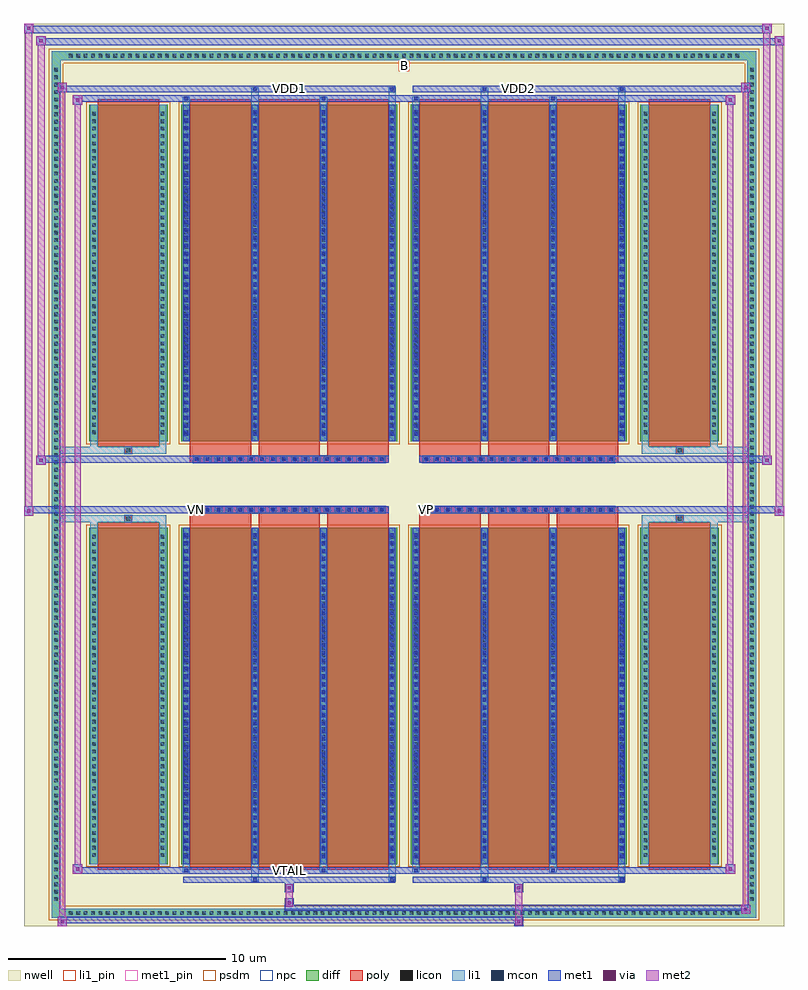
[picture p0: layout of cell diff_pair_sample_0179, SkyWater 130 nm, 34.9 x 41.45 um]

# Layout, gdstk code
import gdstk
lib = gdstk.Library(unit=1e-6, precision=5e-09)
def R(c, l, rs):  # rectangles x0, y0, x1, y1
    for r in rs: c.add(gdstk.rectangle(r[:2], r[2:], *l))
def A(c, l, x, y, w, h, nx, ny, dx, dy):  # array of equal rectangles
    R(c, l, [(x+i*dx, y+j*dy, x+i*dx+w, y+j*dy+h) for i in range(nx) for j in range(ny)])
def P(c, l, *ps):  # polygons
    for p in ps: c.add(gdstk.Polygon(p, *l))
nwell = (64, 20)
diff = (65, 20)
poly = (66, 20)
licon = (66, 44)
li1_pin = (67, 16)
li1 = (67, 20)
mcon = (67, 44)
met1_pin = (68, 16)
met1 = (68, 20)
via = (68, 44)
met2 = (69, 20)
psdm = (94, 20)
npc = (95, 20)

diff_pair_sample_0179 = lib.new_cell('diff_pair_sample_0179')
R(diff_pair_sample_0179, nwell, [(-17.45,-20.29,17.45,21.16), (-14.77,-18.48,-0.01,-0.8), (0.01,-18.48,14.77,-0.8), (-14.77,0.8,-0.01,18.48), (0.01,0.8,14.77,18.48)])
A(diff_pair_sample_0179, diff, -15.505, -19.89, 0.41, 0.41, 91, 2, 0.34, 39.37)
A(diff_pair_sample_0179, diff, -16.18, -19.245, 0.41, 0.41, 1, 113, 0, 0.34)
A(diff_pair_sample_0179, diff, 15.77, -19.245, 0.41, 0.41, 1, 113, 0, 0.34)
R(diff_pair_sample_0179, diff, [(-15.505,-19.89,15.505,-19.48), (-16.18,-19.245,-15.77,19.245), (15.77,-19.245,16.18,19.245), (-14.46,-17.435,-10.86,-1.985), (-10.22,-17.435,-0.32,-1.985), (0.32,-17.435,10.22,-1.985), (10.86,-17.435,14.46,-1.985), (-14.46,1.985,-10.86,17.435), (-10.22,1.985,-0.32,17.435), (0.32,1.985,10.22,17.435), (10.86,1.985,14.46,17.435), (-15.505,19.48,15.505,19.89)])
P(diff_pair_sample_0179, diff, [(16.18,19.89),(-16.18,19.89),(-16.18,-19.48),(-15.77,-19.48),(-15.77,19.48),(15.77,19.48),(15.77,-19.48),(-15.77,-19.48),(-16.18,-19.48),(-16.18,-19.89),(16.18,-19.89)])
A(diff_pair_sample_0179, poly, -9.83, -17.685, 2.82, 15.95, 3, 2, 3.15, 19.42)
A(diff_pair_sample_0179, poly, 0.71, -17.685, 2.82, 15.95, 3, 2, 3.15, 19.42)
A(diff_pair_sample_0179, poly, -9.83, -1.735, 2.82, 0.405, 3, 2, 3.15, 3.065)
A(diff_pair_sample_0179, poly, 0.71, -1.735, 2.82, 0.405, 3, 2, 3.15, 3.065)
A(diff_pair_sample_0179, poly, -9.685, -1.33, 0.33, 0.33, 18, 2, 0.5, 2.33)
A(diff_pair_sample_0179, poly, 0.855, -1.33, 0.33, 0.33, 18, 2, 0.5, 2.33)
R(diff_pair_sample_0179, poly, [(-14.07,-17.685,-11.25,-1.735), (11.25,-17.685,14.07,-1.735), (-12.825,-1.735,-12.495,-1.405), (-12.825,-1.735,-12.495,-1.405), (12.495,-1.735,12.825,-1.405), (12.495,-1.735,12.825,-1.405), (-9.83,-1.33,-0.71,-1), (0.71,-1.33,9.83,-1), (-9.83,1,-0.71,1.33), (0.71,1,9.83,1.33), (-12.825,1.405,-12.495,1.735), (-12.825,1.405,-12.495,1.735), (12.495,1.405,12.825,1.735), (12.495,1.405,12.825,1.735), (-14.07,1.735,-11.25,17.685), (11.25,1.735,14.07,17.685)])
A(diff_pair_sample_0179, licon, -15.385, -19.77, 0.17, 0.17, 91, 2, 0.34, 39.37)
A(diff_pair_sample_0179, licon, -16.06, -19.125, 0.17, 0.17, 1, 113, 0, 0.34)
A(diff_pair_sample_0179, licon, 15.89, -19.125, 0.17, 0.17, 1, 113, 0, 0.34)
A(diff_pair_sample_0179, licon, -14.32, -17.105, 0.17, 0.17, 1, 44, 0, 0.34)
A(diff_pair_sample_0179, licon, -11.17, -17.105, 0.17, 0.17, 1, 44, 0, 0.34)
A(diff_pair_sample_0179, licon, -10.08, -17.105, 0.17, 0.17, 4, 44, 3.15, 0.34)
A(diff_pair_sample_0179, licon, 0.46, -17.105, 0.17, 0.17, 4, 44, 3.15, 0.34)
A(diff_pair_sample_0179, licon, 11, -17.105, 0.17, 0.17, 1, 44, 0, 0.34)
A(diff_pair_sample_0179, licon, 14.15, -17.105, 0.17, 0.17, 1, 44, 0, 0.34)
A(diff_pair_sample_0179, licon, -9.605, -1.25, 0.17, 0.17, 18, 2, 0.5, 2.33)
A(diff_pair_sample_0179, licon, 0.935, -1.25, 0.17, 0.17, 18, 2, 0.5, 2.33)
A(diff_pair_sample_0179, licon, -14.32, 2.315, 0.17, 0.17, 1, 44, 0, 0.34)
A(diff_pair_sample_0179, licon, -11.17, 2.315, 0.17, 0.17, 1, 44, 0, 0.34)
A(diff_pair_sample_0179, licon, -10.08, 2.315, 0.17, 0.17, 4, 44, 3.15, 0.34)
A(diff_pair_sample_0179, licon, 0.46, 2.315, 0.17, 0.17, 4, 44, 3.15, 0.34)
A(diff_pair_sample_0179, licon, 11, 2.315, 0.17, 0.17, 1, 44, 0, 0.34)
A(diff_pair_sample_0179, licon, 14.15, 2.315, 0.17, 0.17, 1, 44, 0, 0.34)
R(diff_pair_sample_0179, licon, [(-12.745,-1.655,-12.575,-1.485), (12.575,-1.655,12.745,-1.485), (-12.745,1.485,-12.575,1.655), (12.575,1.485,12.745,1.655)])
R(diff_pair_sample_0179, li1_pin, [(-0.25,18.98,0.25,19.48)])
A(diff_pair_sample_0179, li1, -15.465, -19.85, 0.33, 0.33, 91, 2, 0.34, 39.37)
A(diff_pair_sample_0179, li1, -16.14, -19.205, 0.33, 0.33, 1, 113, 0, 0.34)
A(diff_pair_sample_0179, li1, 15.81, -19.205, 0.33, 0.33, 1, 113, 0, 0.34)
A(diff_pair_sample_0179, li1, -10.16, -17.435, 0.33, 15.45, 4, 2, 3.15, 19.42)
A(diff_pair_sample_0179, li1, 0.38, -17.435, 0.33, 15.45, 4, 2, 3.15, 19.42)
A(diff_pair_sample_0179, li1, -14.4, -17.185, 0.33, 0.33, 1, 44, 0, 0.34)
A(diff_pair_sample_0179, li1, -11.25, -17.185, 0.33, 0.33, 1, 44, 0, 0.34)
A(diff_pair_sample_0179, li1, -10.16, -17.185, 0.33, 0.33, 4, 44, 3.15, 0.34)
A(diff_pair_sample_0179, li1, 0.38, -17.185, 0.33, 0.33, 4, 44, 3.15, 0.34)
A(diff_pair_sample_0179, li1, 10.92, -17.185, 0.33, 0.33, 1, 44, 0, 0.34)
A(diff_pair_sample_0179, li1, 14.07, -17.185, 0.33, 0.33, 1, 44, 0, 0.34)
A(diff_pair_sample_0179, li1, -10.08, -17.175, 0.17, 0.17, 4, 42, 3.15, 0.36)
A(diff_pair_sample_0179, li1, -10.08, -17.175, 0.17, 14.93, 4, 2, 3.15, 19.42)
A(diff_pair_sample_0179, li1, 0.46, -17.175, 0.17, 0.17, 4, 42, 3.15, 0.36)
A(diff_pair_sample_0179, li1, 0.46, -17.175, 0.17, 14.93, 4, 2, 3.15, 19.42)
A(diff_pair_sample_0179, li1, -9.685, -1.33, 0.33, 0.33, 18, 2, 0.5, 2.33)
A(diff_pair_sample_0179, li1, 0.855, -1.33, 0.33, 0.33, 18, 2, 0.5, 2.33)
A(diff_pair_sample_0179, li1, -14.4, 2.235, 0.33, 0.33, 1, 44, 0, 0.34)
A(diff_pair_sample_0179, li1, -11.25, 2.235, 0.33, 0.33, 1, 44, 0, 0.34)
A(diff_pair_sample_0179, li1, -10.16, 2.235, 0.33, 0.33, 4, 44, 3.15, 0.34)
A(diff_pair_sample_0179, li1, 0.38, 2.235, 0.33, 0.33, 4, 44, 3.15, 0.34)
A(diff_pair_sample_0179, li1, 10.92, 2.235, 0.33, 0.33, 1, 44, 0, 0.34)
A(diff_pair_sample_0179, li1, 14.07, 2.235, 0.33, 0.33, 1, 44, 0, 0.34)
A(diff_pair_sample_0179, li1, -10.08, 2.245, 0.17, 0.17, 4, 42, 3.15, 0.36)
A(diff_pair_sample_0179, li1, 0.46, 2.245, 0.17, 0.17, 4, 42, 3.15, 0.36)
R(diff_pair_sample_0179, li1, [(-16.18,-19.89,-15.77,-19.48), (-16.18,-19.89,-15.77,-19.48), (-15.77,-19.89,15.77,-19.48), (15.77,-19.89,16.18,-19.48), (15.77,-19.89,16.18,-19.48), (-16.18,-19.48,-15.77,19.48), (15.77,-19.48,16.18,19.48), (-7.01,-18.24,-6.68,-17.435), (-6.93,-18.24,-6.76,-18.07), (-0.71,-18.24,-0.38,-17.435), (-0.63,-18.24,-0.46,-18.07), (3.53,-18.24,3.86,-17.435), (3.61,-18.24,3.78,-18.07), (9.83,-18.24,10.16,-17.435), (9.91,-18.24,10.08,-18.07), (-10.16,-17.81,-9.83,-17.435), (-10.08,-17.81,-9.91,-17.64), (-3.86,-17.81,-3.53,-17.435), (-3.78,-17.81,-3.61,-17.64), (0.38,-17.81,0.71,-17.435), (0.46,-17.81,0.63,-17.64), (6.68,-17.81,7.01,-17.435), (6.76,-17.81,6.93,-17.64), (-14.4,-17.435,-14.07,-1.985), (-11.25,-17.435,-10.92,-1.985), (10.92,-17.435,11.25,-1.985), (14.07,-17.435,14.4,-1.985), (-14.4,-1.985,-14.07,-1.405), (-11.25,-1.985,-10.92,-1.405), (10.92,-1.985,11.25,-1.405), (14.07,-1.985,14.4,-1.405), (-16.18,-1.735,-12.825,-1.405), (-14.4,-1.735,-12.825,-1.405), (-12.825,-1.735,-12.495,-1.405), (-12.495,-1.735,-10.92,-1.405), (10.92,-1.735,12.495,-1.405), (12.495,-1.735,12.825,-1.405), (12.495,-1.735,16.18,-1.405), (12.825,-1.735,14.4,-1.405), (-16.18,1.405,-12.825,1.735), (-14.4,1.405,-12.825,1.735), (-14.4,1.405,-14.07,1.985), (-12.825,1.405,-12.495,1.735), (-12.495,1.405,-10.92,1.735), (-11.25,1.405,-10.92,1.985), (10.92,1.405,12.495,1.735), (10.92,1.405,11.25,1.985), (12.495,1.405,12.825,1.735), (12.495,1.405,16.18,1.735), (12.825,1.405,14.4,1.735), (14.07,1.405,14.4,1.985), (-14.4,1.985,-14.07,17.435), (-11.25,1.985,-10.92,17.435), (10.92,1.985,11.25,17.435), (14.07,1.985,14.4,17.435), (-10.16,17.435,-9.83,17.81), (-7.01,17.435,-6.68,18.24), (-3.86,17.435,-3.53,17.81), (-0.71,17.435,-0.38,18.24), (0.38,17.435,0.71,17.81), (3.53,17.435,3.86,18.24), (6.68,17.435,7.01,17.81), (9.83,17.435,10.16,18.24), (-10.08,17.64,-9.91,17.81), (-3.78,17.64,-3.61,17.81), (0.46,17.64,0.63,17.81), (6.76,17.64,6.93,17.81), (-6.93,18.07,-6.76,18.24), (-0.63,18.07,-0.46,18.24), (3.61,18.07,3.78,18.24), (9.91,18.07,10.08,18.24), (-16.18,19.48,-15.77,19.89), (-16.18,19.48,-15.77,19.89), (-15.77,19.48,15.77,19.89), (15.77,19.48,16.18,19.89), (15.77,19.48,16.18,19.89)])
A(diff_pair_sample_0179, mcon, -10.08, -17.175, 0.17, 0.17, 4, 42, 3.15, 0.36)
A(diff_pair_sample_0179, mcon, 0.46, -17.175, 0.17, 0.17, 4, 42, 3.15, 0.36)
A(diff_pair_sample_0179, mcon, -9.605, -1.25, 0.17, 0.17, 18, 2, 0.5, 2.33)
A(diff_pair_sample_0179, mcon, 0.935, -1.25, 0.17, 0.17, 18, 2, 0.5, 2.33)
A(diff_pair_sample_0179, mcon, -10.08, 2.245, 0.17, 0.17, 4, 42, 3.15, 0.36)
A(diff_pair_sample_0179, mcon, 0.46, 2.245, 0.17, 0.17, 4, 42, 3.15, 0.36)
R(diff_pair_sample_0179, mcon, [(-6.93,-18.24,-6.76,-18.07), (-0.63,-18.24,-0.46,-18.07), (3.61,-18.24,3.78,-18.07), (9.91,-18.24,10.08,-18.07), (-10.08,-17.81,-9.91,-17.64), (-3.78,-17.81,-3.61,-17.64), (0.46,-17.81,0.63,-17.64), (6.76,-17.81,6.93,-17.64), (-10.08,17.64,-9.91,17.81), (-3.78,17.64,-3.61,17.81), (0.46,17.64,0.63,17.81), (6.76,17.64,6.93,17.81), (-6.93,18.07,-6.76,18.24), (-0.63,18.07,-0.46,18.24), (3.61,18.07,3.78,18.24), (9.91,18.07,10.08,18.24)])
R(diff_pair_sample_0179, met1_pin, [(-5.405,-17.85,-5.135,-17.58), (-9.655,-1.29,-9.385,-1.02), (0.885,-1.29,1.155,-1.02), (-5.405,18.03,-5.135,18.3), (5.135,18.03,5.405,18.3)])
A(diff_pair_sample_0179, met1, -10.14, -17.435, 0.29, 15.45, 4, 2, 3.15, 19.42)
A(diff_pair_sample_0179, met1, 0.4, -17.435, 0.29, 15.45, 4, 2, 3.15, 19.42)
A(diff_pair_sample_0179, met1, -10.14, -17.235, 0.29, 0.29, 4, 42, 3.15, 0.36)
A(diff_pair_sample_0179, met1, 0.4, -17.235, 0.29, 0.29, 4, 42, 3.15, 0.36)
A(diff_pair_sample_0179, met1, -9.665, -1.31, 0.29, 0.29, 18, 2, 0.5, 2.33)
A(diff_pair_sample_0179, met1, 0.875, -1.31, 0.29, 0.29, 18, 2, 0.5, 2.33)
A(diff_pair_sample_0179, met1, -10.14, 2.185, 0.29, 0.29, 4, 42, 3.15, 0.36)
A(diff_pair_sample_0179, met1, 0.4, 2.185, 0.29, 0.29, 4, 42, 3.15, 0.36)
R(diff_pair_sample_0179, met1, [(-15.91,-20.29,-15.48,-19.86), (5.055,-20.29,5.485,-19.86), (-15.91,-20.15,5.485,-19.86), (15.48,-19.72,15.91,-19.29), (-5.485,-19.58,15.91,-19.29), (-5.485,-19.44,-5.055,-19.01), (-5.485,-18.73,-5.055,-18.3), (5.055,-18.73,5.485,-18.3), (-10.14,-18.3,-0.4,-18.01), (-6.99,-18.3,-6.7,-18.01), (-0.69,-18.3,-0.4,-18.01), (0.4,-18.3,10.14,-18.01), (3.55,-18.3,3.84,-18.01), (9.85,-18.3,10.14,-18.01), (-15.2,-17.87,-14.77,-17.44), (-15.2,-17.87,-10.14,-17.58), (-10.14,-17.87,-9.85,-17.58), (-10.14,-17.87,-0.4,-17.58), (-3.84,-17.87,-3.55,-17.58), (-0.4,-17.87,0.4,-17.58), (0.4,-17.87,0.69,-17.58), (0.4,-17.87,10.14,-17.58), (6.7,-17.87,6.99,-17.58), (10.14,-17.87,15.2,-17.58), (14.77,-17.87,15.2,-17.44), (-17.45,-1.43,-17.02,-1), (17.02,-1.43,17.45,-1), (-17.45,-1.33,-0.71,-1), (-9.83,-1.33,-0.71,-1), (0.71,-1.33,9.83,-1), (0.71,-1.33,17.45,-1), (-16.88,0.9,-16.45,1.33), (16.45,0.9,16.88,1.33), (-16.88,1,-9.83,1.33), (-9.83,1,-0.71,1.33), (0.71,1,9.83,1.33), (9.83,1,16.88,1.33), (-15.2,17.44,-14.77,17.87), (14.77,17.44,15.2,17.87), (-15.2,17.58,-10.14,17.87), (-10.14,17.58,-9.85,17.87), (-10.14,17.58,-0.4,17.87), (-3.84,17.58,-3.55,17.87), (-0.4,17.58,0.4,17.87), (0.4,17.58,0.69,17.87), (0.4,17.58,10.14,17.87), (6.7,17.58,6.99,17.87), (10.14,17.58,15.2,17.87), (-15.91,18.01,-15.48,18.44), (-15.91,18.01,-10.14,18.3), (-10.14,18.01,-0.4,18.3), (-6.99,18.01,-6.7,18.3), (-0.69,18.01,-0.4,18.3), (0.4,18.01,10.14,18.3), (3.55,18.01,3.84,18.3), (9.85,18.01,10.14,18.3), (10.14,18.01,15.91,18.3), (15.48,18.01,15.91,18.44), (-16.88,20.16,-16.45,20.59), (-16.88,20.16,-14.77,20.49), (-14.77,20.16,14.77,20.49), (14.77,20.16,17.45,20.49), (17.02,20.16,17.45,20.59), (-17.45,20.73,-17.02,21.16), (-17.45,20.73,-14.77,21.06), (-14.77,20.73,14.77,21.06), (14.77,20.73,16.88,21.06), (16.45,20.73,16.88,21.16)])
R(diff_pair_sample_0179, via, [(-15.77,-20.15,-15.62,-20), (5.195,-20.15,5.345,-20), (15.62,-19.58,15.77,-19.43), (-5.345,-19.3,-5.195,-19.15), (-5.345,-18.59,-5.195,-18.44), (5.195,-18.59,5.345,-18.44), (-15.06,-17.73,-14.91,-17.58), (14.91,-17.73,15.06,-17.58), (-17.31,-1.29,-17.16,-1.14), (17.16,-1.29,17.31,-1.14), (-16.74,1.04,-16.59,1.19), (16.59,1.04,16.74,1.19), (-15.06,17.58,-14.91,17.73), (14.91,17.58,15.06,17.73), (-15.77,18.15,-15.62,18.3), (15.62,18.15,15.77,18.3), (-16.74,20.3,-16.59,20.45), (17.16,20.3,17.31,20.45), (-17.31,20.87,-17.16,21.02), (16.59,20.87,16.74,21.02)])
R(diff_pair_sample_0179, met2, [(-15.91,-20.29,-15.48,-19.86), (-15.84,-20.29,-15.55,18.44), (-15.55,-20.29,-15.48,-19.86), (-15.86,-20.24,-15.53,-19.91), (5.105,-20.24,5.435,-19.91), (5.105,-19.91,5.435,-18.68), (15.48,-19.72,15.91,-19.29), (15.55,-19.72,15.84,18.44), (15.84,-19.72,15.91,-19.29), (15.53,-19.67,15.86,-19.34), (-5.435,-19.39,-5.105,-19.06), (-5.435,-19.06,-5.105,-18.68), (-5.435,-18.68,-5.105,-18.35), (5.105,-18.68,5.435,-18.35), (-15.2,-17.87,-14.77,-17.44), (-15.13,-17.87,-14.84,17.87), (-14.84,-17.87,-14.77,-17.44), (14.77,-17.87,15.2,-17.44), (14.84,-17.87,15.13,17.87), (15.13,-17.87,15.2,-17.44), (-15.15,-17.82,-14.82,-17.49), (14.82,-17.82,15.15,-17.49), (-17.45,-1.43,-17.02,-1), (-17.4,-1.43,-17.07,21.16), (-17.07,-1.43,-17.02,-1), (17.02,-1.43,17.45,-1), (17.07,-1.43,17.4,20.59), (17.4,-1.43,17.45,-1), (-17.4,-1.38,-17.07,-1.05), (17.07,-1.38,17.4,-1.05), (-16.88,0.9,-16.45,1.33), (-16.83,0.9,-16.5,20.59), (-16.5,0.9,-16.45,1.33), (16.45,0.9,16.88,1.33), (16.5,0.9,16.83,21.16), (16.83,0.9,16.88,1.33), (-16.83,0.95,-16.5,1.28), (16.5,0.95,16.83,1.28), (-15.2,17.44,-14.77,17.87), (-14.84,17.44,-14.77,17.87), (14.77,17.44,15.2,17.87), (15.13,17.44,15.2,17.87), (-15.15,17.49,-14.82,17.82), (14.82,17.49,15.15,17.82), (-15.91,18.01,-15.48,18.44), (-15.55,18.01,-15.48,18.44), (15.48,18.01,15.91,18.44), (15.84,18.01,15.91,18.44), (-15.86,18.06,-15.53,18.39), (15.53,18.06,15.86,18.39), (-16.88,20.16,-16.45,20.59), (-16.5,20.16,-16.45,20.59), (17.02,20.16,17.45,20.59), (17.4,20.16,17.45,20.59), (-16.83,20.21,-16.5,20.54), (17.07,20.21,17.4,20.54), (-17.45,20.73,-17.02,21.16), (-17.07,20.73,-17.02,21.16), (16.45,20.73,16.88,21.16), (16.83,20.73,16.88,21.16), (-17.4,20.78,-17.07,21.11), (16.5,20.78,16.83,21.11)])
R(diff_pair_sample_0179, psdm, [(-14.59,-17.565,-10.73,-1.855), (-10.35,-17.565,-0.19,-1.855), (0.19,-17.565,10.35,-1.855), (10.73,-17.565,14.59,-1.855), (-14.59,1.855,-10.73,17.565), (-10.35,1.855,-0.19,17.565), (0.19,1.855,10.35,17.565), (10.73,1.855,14.59,17.565)])
P(diff_pair_sample_0179, psdm, [(16.31,20.02),(-16.31,20.02),(-16.31,-19.35),(-15.64,-19.35),(-15.64,19.35),(15.64,19.35),(15.64,-19.35),(-15.64,-19.35),(-16.31,-19.35),(-16.31,-20.02),(16.31,-20.02)])
A(diff_pair_sample_0179, npc, -9.705, -1.35, 0.37, 0.37, 18, 2, 0.5, 2.33)
A(diff_pair_sample_0179, npc, 0.835, -1.35, 0.37, 0.37, 18, 2, 0.5, 2.33)
R(diff_pair_sample_0179, npc, [(-12.845,-1.755,-12.475,-1.385), (12.475,-1.755,12.845,-1.385), (-9.705,-1.35,-8.835,-0.98), (-9.705,-1.35,-8.835,-0.98), (-9.205,-1.35,-8.335,-0.98), (-9.205,-1.35,-8.335,-0.98), (-8.705,-1.35,-7.835,-0.98), (-8.705,-1.35,-7.835,-0.98), (-8.205,-1.35,-7.335,-0.98), (-8.205,-1.35,-7.335,-0.98), (-7.705,-1.35,-6.835,-0.98), (-7.705,-1.35,-6.835,-0.98), (-7.205,-1.35,-6.335,-0.98), (-7.205,-1.35,-6.335,-0.98), (-6.705,-1.35,-5.835,-0.98), (-6.705,-1.35,-5.835,-0.98), (-6.205,-1.35,-5.335,-0.98), (-6.205,-1.35,-5.335,-0.98), (-5.705,-1.35,-4.835,-0.98), (-5.705,-1.35,-4.835,-0.98), (-5.205,-1.35,-4.335,-0.98), (-5.205,-1.35,-4.335,-0.98), (-4.705,-1.35,-3.835,-0.98), (-4.705,-1.35,-3.835,-0.98), (-4.205,-1.35,-3.335,-0.98), (-4.205,-1.35,-3.335,-0.98), (-3.705,-1.35,-2.835,-0.98), (-3.705,-1.35,-2.835,-0.98), (-3.205,-1.35,-2.335,-0.98), (-3.205,-1.35,-2.335,-0.98), (-2.705,-1.35,-1.835,-0.98), (-2.705,-1.35,-1.835,-0.98), (-2.205,-1.35,-1.335,-0.98), (-2.205,-1.35,-1.335,-0.98), (-1.705,-1.35,-0.835,-0.98), (-1.705,-1.35,-0.835,-0.98), (0.835,-1.35,1.705,-0.98), (0.835,-1.35,1.705,-0.98), (1.335,-1.35,2.205,-0.98), (1.335,-1.35,2.205,-0.98), (1.835,-1.35,2.705,-0.98), (1.835,-1.35,2.705,-0.98), (2.335,-1.35,3.205,-0.98), (2.335,-1.35,3.205,-0.98), (2.835,-1.35,3.705,-0.98), (2.835,-1.35,3.705,-0.98), (3.335,-1.35,4.205,-0.98), (3.335,-1.35,4.205,-0.98), (3.835,-1.35,4.705,-0.98), (3.835,-1.35,4.705,-0.98), (4.335,-1.35,5.205,-0.98), (4.335,-1.35,5.205,-0.98), (4.835,-1.35,5.705,-0.98), (4.835,-1.35,5.705,-0.98), (5.335,-1.35,6.205,-0.98), (5.335,-1.35,6.205,-0.98), (5.835,-1.35,6.705,-0.98), (5.835,-1.35,6.705,-0.98), (6.335,-1.35,7.205,-0.98), (6.335,-1.35,7.205,-0.98), (6.835,-1.35,7.705,-0.98), (6.835,-1.35,7.705,-0.98), (7.335,-1.35,8.205,-0.98), (7.335,-1.35,8.205,-0.98), (7.835,-1.35,8.705,-0.98), (7.835,-1.35,8.705,-0.98), (8.335,-1.35,9.205,-0.98), (8.335,-1.35,9.205,-0.98), (8.835,-1.35,9.705,-0.98), (8.835,-1.35,9.705,-0.98), (-9.705,0.98,-8.835,1.35), (-9.705,0.98,-8.835,1.35), (-9.205,0.98,-8.335,1.35), (-9.205,0.98,-8.335,1.35), (-8.705,0.98,-7.835,1.35), (-8.705,0.98,-7.835,1.35), (-8.205,0.98,-7.335,1.35), (-8.205,0.98,-7.335,1.35), (-7.705,0.98,-6.835,1.35), (-7.705,0.98,-6.835,1.35), (-7.205,0.98,-6.335,1.35), (-7.205,0.98,-6.335,1.35), (-6.705,0.98,-5.835,1.35), (-6.705,0.98,-5.835,1.35), (-6.205,0.98,-5.335,1.35), (-6.205,0.98,-5.335,1.35), (-5.705,0.98,-4.835,1.35), (-5.705,0.98,-4.835,1.35), (-5.205,0.98,-4.335,1.35), (-5.205,0.98,-4.335,1.35), (-4.705,0.98,-3.835,1.35), (-4.705,0.98,-3.835,1.35), (-4.205,0.98,-3.335,1.35), (-4.205,0.98,-3.335,1.35), (-3.705,0.98,-2.835,1.35), (-3.705,0.98,-2.835,1.35), (-3.205,0.98,-2.335,1.35), (-3.205,0.98,-2.335,1.35), (-2.705,0.98,-1.835,1.35), (-2.705,0.98,-1.835,1.35), (-2.205,0.98,-1.335,1.35), (-2.205,0.98,-1.335,1.35), (-1.705,0.98,-0.835,1.35), (-1.705,0.98,-0.835,1.35), (0.835,0.98,1.705,1.35), (0.835,0.98,1.705,1.35), (1.335,0.98,2.205,1.35), (1.335,0.98,2.205,1.35), (1.835,0.98,2.705,1.35), (1.835,0.98,2.705,1.35), (2.335,0.98,3.205,1.35), (2.335,0.98,3.205,1.35), (2.835,0.98,3.705,1.35), (2.835,0.98,3.705,1.35), (3.335,0.98,4.205,1.35), (3.335,0.98,4.205,1.35), (3.835,0.98,4.705,1.35), (3.835,0.98,4.705,1.35), (4.335,0.98,5.205,1.35), (4.335,0.98,5.205,1.35), (4.835,0.98,5.705,1.35), (4.835,0.98,5.705,1.35), (5.335,0.98,6.205,1.35), (5.335,0.98,6.205,1.35), (5.835,0.98,6.705,1.35), (5.835,0.98,6.705,1.35), (6.335,0.98,7.205,1.35), (6.335,0.98,7.205,1.35), (6.835,0.98,7.705,1.35), (6.835,0.98,7.705,1.35), (7.335,0.98,8.205,1.35), (7.335,0.98,8.205,1.35), (7.835,0.98,8.705,1.35), (7.835,0.98,8.705,1.35), (8.335,0.98,9.205,1.35), (8.335,0.98,9.205,1.35), (8.835,0.98,9.705,1.35), (8.835,0.98,9.705,1.35), (-12.845,1.385,-12.475,1.755), (12.475,1.385,12.845,1.755)])
diff_pair_sample_0179.add(gdstk.Label('VTAIL', (-5.27,-17.715), layer=68, texttype=5))
diff_pair_sample_0179.add(gdstk.Label('VN', (-9.52,-1.155), layer=68, texttype=5))
diff_pair_sample_0179.add(gdstk.Label('VP', (1.02,-1.155), layer=68, texttype=5))
diff_pair_sample_0179.add(gdstk.Label('B', (0,19.23), layer=67, texttype=5))
diff_pair_sample_0179.add(gdstk.Label('VDD2', (5.27,18.165), layer=68, texttype=5))
diff_pair_sample_0179.add(gdstk.Label('VDD1', (-5.27,18.165), layer=68, texttype=5))

lib.write_gds('diff_pair_sample_0179.gds')
